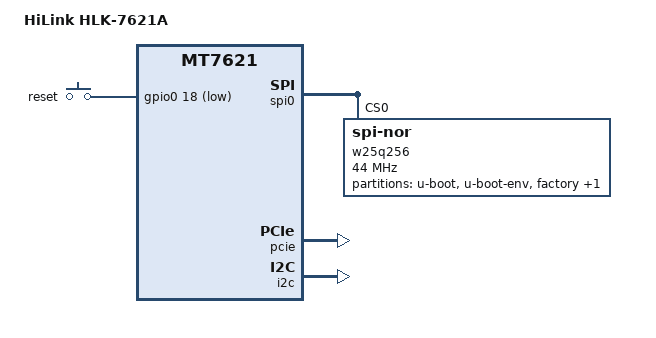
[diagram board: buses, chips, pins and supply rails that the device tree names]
// SPDX-License-Identifier: GPL-2.0-or-later OR MIT
/dts-v1/;

#include "mt7621.dtsi"

#include <dt-bindings/gpio/gpio.h>
#include <dt-bindings/input/input.h>

/ {
	compatible = "hilink,hlk-7621a", "mediatek,mt7621-soc";
	model = "HiLink HLK-7621A";
	
	chosen {
		bootargs = "console=ttyS0,57600";
	};
	
	keys {
		compatible = "gpio-keys-polled";
		poll-interval = <20>;

		reset {
			label = "reset";
			gpios = <&gpio0 18 GPIO_ACTIVE_LOW>;
			linux,code = <KEY_RESTART>;
		};
	};
};

&spi0 {
	status = "okay";

	w25q256@0 {
		compatible = "jedec,spi-nor";
		reg = <0>;
		spi-max-frequency = <44000000>;

		partitions {
			compatible = "fixed-partitions";
			#address-cells = <1>;
			#size-cells = <1>;

			partition@0 {
				label = "u-boot";
				reg = <0x0 0x30000>;
				read-only;
			};

			partition@30000 {
				label = "u-boot-env";
				reg = <0x30000 0x10000>;
				read-only;
			};

			factory: partition@40000 {
				label = "factory";
				reg = <0x40000 0x10000>;
				read-only;
			};

			partition@50000 {
				compatible = "denx,uimage";
				label = "firmware";
				reg = <0x50000 0x1fb0000>;
			};
		};
	};
};

&pinctrl {
	state_default: pinctrl0 {
		gpio {
			ralink,group = "wdt", "uart2", "uart3", "jtag";
			ralink,function = "gpio";
		};
	};
};

&ethernet {
	mtd-mac-address = <&factory 0xe000>;
};

&pcie {
	status = "okay";
};

&i2c {
	status = "okay";
};

